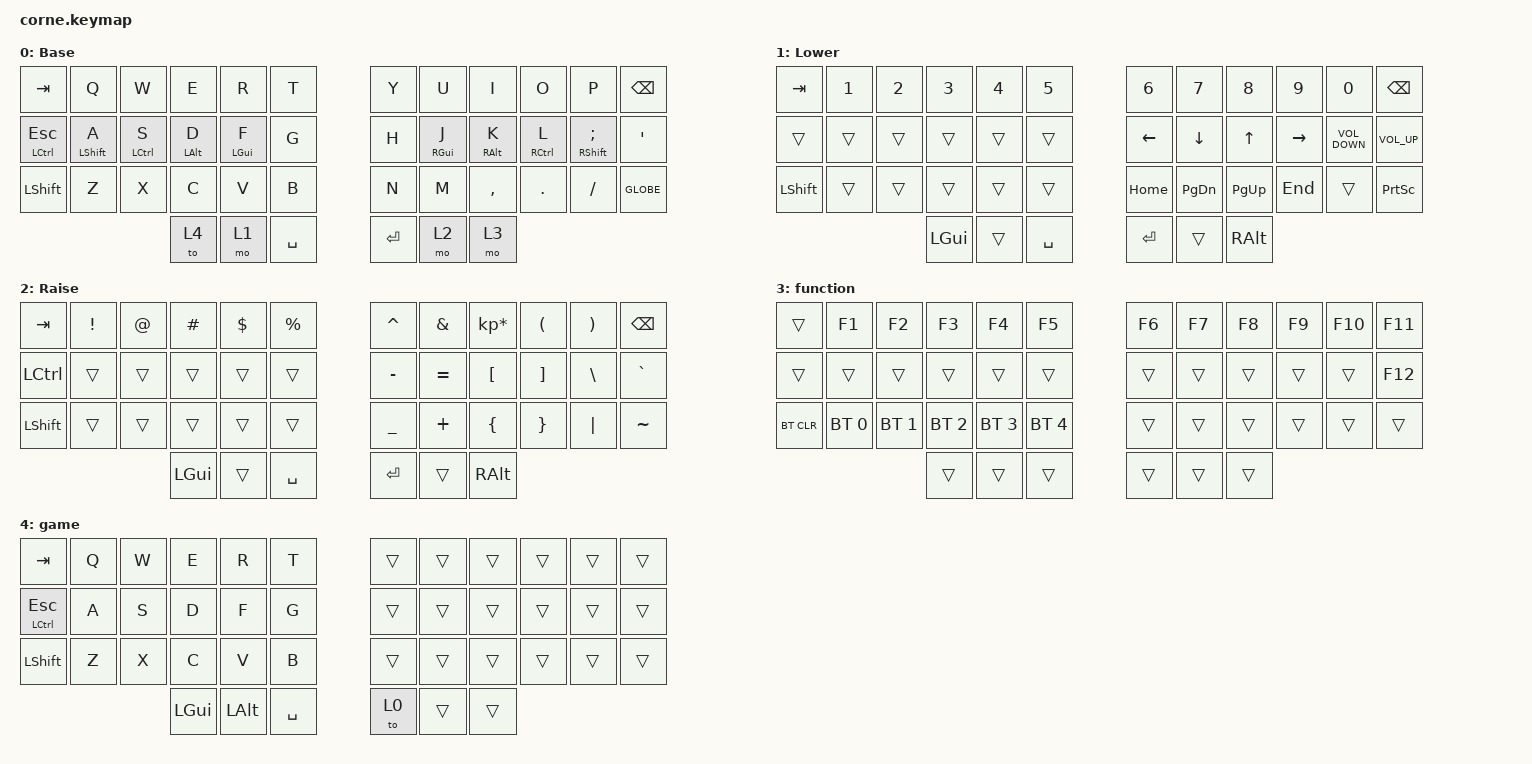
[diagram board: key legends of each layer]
/*
 * Copyright (c) 2020 The ZMK Contributors
 *
 * SPDX-License-Identifier: MIT
 */

#include <behaviors.dtsi>
#include <dt-bindings/zmk/bt.h>
#include <dt-bindings/zmk/keys.h>

/ {
    behaviors {
        balanced_homerow_mods: balanced_homerow_mods {
            compatible = "zmk,behavior-hold-tap";
            label = "BALANCED_HOMEROW_MODS";
            bindings = <&kp>, <&kp>;

            #binding-cells = <2>;
            tapping-term-ms = <200>;
            flavor = "tap-preferred";
        };

        tap_preferred: tap_preferred {
            compatible = "zmk,behavior-hold-tap";
            label = "TAP_PREFERRED";
            bindings = <&kp>, <&kp>;

            #binding-cells = <2>;
            tapping-term-ms = <250>;
            flavor = "tap-preferred";
        };
    };

    keymap {
        compatible = "zmk,keymap";

        default_layer {
            // -----------------------------------------------------------------------------------------
            // |  TAB |  Q  |  W  |  E  |  R  |  T  |   |  Y  |  U   |  I  |  O  |  P  | BKSP |
            // | CTRL |  A  |  S  |  D  |  F  |  G  |   |  H  |  J   |  K  |  L  |  ;  |  '   |
            // | SHFT |  Z  |  X  |  C  |  V  |  B  |   |  N  |  M   |  ,  |  .  |  /  | ESC  |
            //                    | GUI | LWR | SPC |   | ENT | RSE  | ALT |

            label = "Base";
            bindings = <
&kp TAB                           &kp Q                            &kp W                           &kp E                          &kp R                          &kp T        &kp Y    &kp U                          &kp I                          &kp O                           &kp P                               &kp BSPC
&balanced_homerow_mods LCTRL ESC  &balanced_homerow_mods LSHIFT A  &balanced_homerow_mods LCTRL S  &balanced_homerow_mods LALT D  &balanced_homerow_mods LGUI F  &kp G        &kp H    &balanced_homerow_mods RGUI J  &balanced_homerow_mods RALT K  &balanced_homerow_mods RCTRL L  &balanced_homerow_mods RSHIFT SEMI  &kp SQT
&kp LSHFT                         &kp Z                            &kp X                           &kp C                          &kp V                          &kp B        &kp N    &kp M                          &kp COMMA                      &kp DOT                         &kp FSLH                            &kp GLOBE
                                                                                                   &to 4                          &mo 1                          &kp SPACE    &kp RET  &mo 2                          &mo 3
            >;
        };

        lower_layer {
            // -----------------------------------------------------------------------------------------
            // |  TAB |  1  |  2  |  3  |  4  |  5  |   |  6  |  7  |  8  |  9  |  0  | BKSP |
            // | BTCLR| BT1 | BT2 | BT3 | BT4 | BT5 |   | LFT | DWN |  UP | RGT |     |      |
            // | SHFT |     |     |     |     |     |   |     |     |     |     |     |      |
            //                    | GUI |     | SPC |   | ENT |     | ALT |

            label = "Lower";
            bindings = <
&kp TAB    &kp N1  &kp N2  &kp N3    &kp N4  &kp N5       &kp N6    &kp N7         &kp N8       &kp N9     &kp N0             &kp BSPC
&trans     &trans  &trans  &trans    &trans  &trans       &kp LEFT  &kp DOWN       &kp UP       &kp RIGHT  &kp C_VOLUME_DOWN  &kp C_VOLUME_UP
&kp LSHFT  &trans  &trans  &trans    &trans  &trans       &kp HOME  &kp PAGE_DOWN  &kp PAGE_UP  &kp END    &trans             &kp PRINTSCREEN
                           &kp LGUI  &trans  &kp SPACE    &kp RET   &trans         &kp RALT
            >;
        };

        raise_layer {
            // -----------------------------------------------------------------------------------------
            // |  TAB |  !  |  @  |  #  |  $  |  %  |   |  ^  |  &  |  *  |  (  |  )  | BKSP |
            // | CTRL |     |     |     |     |     |   |  -  |  =  |  [  |  ]  |  \  |  `   |
            // | SHFT |     |     |     |     |     |   |  _  |  +  |  {  |  }  | "|" |  ~   |
            //                    | GUI |     | SPC |   | ENT |     | ALT |

            label = "Raise";
            bindings = <
&kp TAB    &kp EXCL  &kp AT  &kp HASH  &kp DLLR  &kp PRCNT    &kp CARET  &kp AMPS   &kp KP_MULTIPLY  &kp LPAR  &kp RPAR  &kp BSPC
&kp LCTRL  &trans    &trans  &trans    &trans    &trans       &kp MINUS  &kp EQUAL  &kp LBKT         &kp RBKT  &kp BSLH  &kp GRAVE
&kp LSHFT  &trans    &trans  &trans    &trans    &trans       &kp UNDER  &kp PLUS   &kp LBRC         &kp RBRC  &kp PIPE  &kp TILDE
                             &kp LGUI  &trans    &kp SPACE    &kp RET    &trans     &kp RALT
            >;
        };

        function {
            bindings = <
&trans      &kp F1        &kp F2        &kp F3        &kp F4        &kp F5          &kp F6  &kp F7  &kp F8  &kp F9  &kp F10  &kp F11
&trans      &trans        &trans        &trans        &trans        &trans          &trans  &trans  &trans  &trans  &trans   &kp F12
&bt BT_CLR  &bt BT_SEL 0  &bt BT_SEL 1  &bt BT_SEL 2  &bt BT_SEL 3  &bt BT_SEL 4    &trans  &trans  &trans  &trans  &trans   &trans
                                        &trans        &trans        &trans          &trans  &trans  &trans
            >;

            label = "function";
        };

        game {
            bindings = <
&kp TAB                           &kp Q  &kp W  &kp E     &kp R     &kp T        &trans  &trans  &trans  &trans  &trans  &trans
&balanced_homerow_mods LCTRL ESC  &kp A  &kp S  &kp D     &kp F     &kp G        &trans  &trans  &trans  &trans  &trans  &trans
&kp LSHFT                         &kp Z  &kp X  &kp C     &kp V     &kp B        &trans  &trans  &trans  &trans  &trans  &trans
                                                &kp LGUI  &kp LALT  &kp SPACE    &to 0   &trans  &trans
            >;

            label = "game";
        };
    };
};
